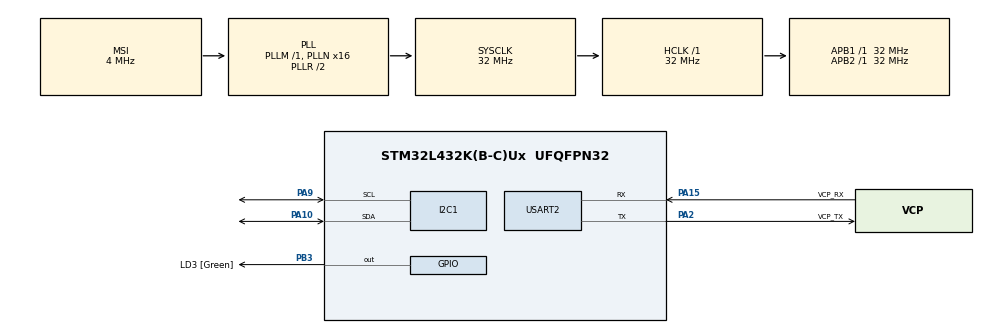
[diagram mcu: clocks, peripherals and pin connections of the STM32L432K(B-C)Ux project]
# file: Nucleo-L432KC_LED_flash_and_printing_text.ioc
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I2C1.Timing=0x00B07CB4
Mcu.Family=STM32L4
Mcu.Name=STM32L432K(B-C)Ux
Mcu.Package=UFQFPN32
NVIC.PriorityGroup=NVIC_PRIORITYGROUP_4
PA0.GPIO_Label=MCO [High speed clock in]
PA0.Mode=HSE-External-Clock-Source-for-LittleOrca
PA0.Signal=RCC_CK_IN
PA10.Mode=I2C
PA10.Signal=I2C1_SDA
PA13\ (JTMS-SWDIO).GPIO_Label=SWDIO
PA13\ (JTMS-SWDIO).Mode=Serial_Wire
PA13\ (JTMS-SWDIO).Signal=SYS_JTMS-SWDIO
PA14\ (JTCK-SWCLK).GPIO_Label=SWCLK
PA14\ (JTCK-SWCLK).Mode=Serial_Wire
PA14\ (JTCK-SWCLK).Signal=SYS_JTCK-SWCLK
PA15\ (JTDI).GPIO_Label=VCP_RX
PA15\ (JTDI).Mode=Asynchronous
PA15\ (JTDI).Signal=USART2_RX
PA2.GPIO_Label=VCP_TX
PA2.Mode=Asynchronous
PA2.Signal=USART2_TX
PA9.Mode=I2C
PA9.Signal=I2C1_SCL
PB3\ (JTDO-TRACESWO).GPIO_Label=LD3 [Green]
PB3\ (JTDO-TRACESWO).Signal=GPIO_Output
PC14-OSC32_IN\ (PC14).Mode=LSE-External-Oscillator
PC14-OSC32_IN\ (PC14).Signal=RCC_OSC32_IN
PC15-OSC32_OUT\ (PC15).Mode=LSE-External-Oscillator
PC15-OSC32_OUT\ (PC15).Signal=RCC_OSC32_OUT
ProjectManager.HeapSize=0x200
ProjectManager.StackSize=0x400
ProjectManager.TargetToolchain=STM32CubeIDE
RCC.AHBFreq_Value=32000000
RCC.APB1Freq_Value=32000000
RCC.APB1TimFreq_Value=32000000
RCC.APB2Freq_Value=32000000
RCC.APB2TimFreq_Value=32000000
RCC.CortexFreq_Value=32000000
RCC.HCLKFreq_Value=32000000
RCC.HSE_VALUE=8000000
RCC.HSI16_VALUE=16000000
RCC.HSI48_VALUE=48000000
RCC.HSI_VALUE=16000000
RCC.MSI_VALUE=4000000
RCC.PLLMUL=RCC_PLLMUL_4
RCC.PLLN=16
RCC.SYSCLKFreq_VALUE=32000000
RCC.SYSCLKSource=RCC_SYSCLKSOURCE_PLLCLK
RCC.VCOOutputFreq_Value=64000000
USART2.VirtualMode-Asynchronous=VM_ASYNC
board=NUCLEO-L432KC

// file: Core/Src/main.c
/* USER CODE BEGIN Header */
/**
 ******************************************************************************
 * @file           : main.c
 * @brief          : Main program body
 ******************************************************************************
 * @attention
 *
 * Copyright (c) 2025 STMicroelectronics.
 * All rights reserved.
 *
 * This software is licensed under terms that can be found in the LICENSE file
 * in the root directory of this software component.
 * If no LICENSE file comes with this software, it is provided AS-IS.
 *
 ******************************************************************************
 */

/**
 * This project includes .h and .c library files for driving the onboard green LED, sending text to the ST-Link VCP via USART
 * and sending text to a 1602 LCD using a library, liquidcrystal_i2c, created by eziya based on the Arduino Liquid Crystal I2C Library.
 * Several parts of this project have been moved to separate h & c files to create modularisation, including:
 * lcd_counter		displays the value of a variable called counter
 * lcd_display		executes a demonstration highlighting the functions available in liquidcrystal_i2c
 * led_control		manipulates the state of the on-board green LED
 * uart_control		includes several functions to transmit data via a USART to the VCP on the embedded ST-Link
 */

/* USER CODE END Header */
#include "main.h"

/* USER CODE BEGIN Includes */
#include <stdio.h>
#include <string.h>
#include "led_control.h"
#include "uart_control.h"
#include "liquidcrystal_i2c.h"
#include "lcd_display.h"
#include "lcd_counter.h"
/* USER CODE END Includes */

I2C_HandleTypeDef hi2c1;

UART_HandleTypeDef huart2;

/* USER CODE BEGIN PV */
uint32_t counter = 0;
uint32_t x = 0;
/* USER CODE END PV */

void SystemClock_Config(void);
static void MX_GPIO_Init(void);
static void MX_USART2_UART_Init(void);
static void MX_I2C1_Init(void);

int main(void)
{

  /* MCU Configuration--------------------------------------------------------*/

  /* Reset of all peripherals, Initializes the Flash interface and the Systick. */
  HAL_Init();

  /* Configure the system clock */
  SystemClock_Config();

  /* Initialize all configured peripherals */
  MX_GPIO_Init();
  MX_USART2_UART_Init();
  MX_I2C1_Init();
  /* USER CODE BEGIN 2 */
	// Call UART_PrintWelcomeMessage to send initial text to LCD
	HAL_Delay(1000);
	UART_PrintWelcomeMessage(); //Code is in uart_control.c
	HAL_Delay(500);

	// Initialize LCD and run display demo
	LCD_DisplayDemo(); // Call the function from lcd_display.c to avoid filling main.c with all the code
  /* USER CODE END 2 */

  /* Infinite loop */
  /* USER CODE BEGIN WHILE */
	while (1) {
		LED_Toggle(200); //Toggle LD3 LED Pin, with 1 second delay. Code is in led.control.c
		HAL_Delay(100);
		UART_PrintLEDStatus(counter++, LED_GetState()); //Print LED status information & counter value. Code is in uart_control.c
		HAL_Delay(100);
		UART_PrintSystemInfo(); //Print system information. Code is in uart_control.c
		HAL_Delay(100);

		// Display counter value on LCD
		LCD_DisplayCounter(counter, 11, 1); // Call LCD_DisplayCounter function in lcd_counter.c and pass parameters
    /* USER CODE END WHILE */

	}
}

void SystemClock_Config(void)
{
  RCC_OscInitTypeDef RCC_OscInitStruct = {0};
  RCC_ClkInitTypeDef RCC_ClkInitStruct = {0};

  /** Configure the main internal regulator output voltage
  */
  if (HAL_PWREx_ControlVoltageScaling(PWR_REGULATOR_VOLTAGE_SCALE1) != HAL_OK)
  {
    Error_Handler();
  }

  /** Configure LSE Drive Capability
  */
  HAL_PWR_EnableBkUpAccess();
  __HAL_RCC_LSEDRIVE_CONFIG(RCC_LSEDRIVE_LOW);

  /** Initializes the RCC Oscillators according to the specified parameters
  * in the RCC_OscInitTypeDef structure.
  */
  RCC_OscInitStruct.OscillatorType = RCC_OSCILLATORTYPE_LSE|RCC_OSCILLATORTYPE_MSI;
  RCC_OscInitStruct.LSEState = RCC_LSE_ON;
  RCC_OscInitStruct.MSIState = RCC_MSI_ON;
  RCC_OscInitStruct.MSICalibrationValue = 0;
  RCC_OscInitStruct.MSIClockRange = RCC_MSIRANGE_6;
  RCC_OscInitStruct.PLL.PLLState = RCC_PLL_ON;
  RCC_OscInitStruct.PLL.PLLSource = RCC_PLLSOURCE_MSI;
  RCC_OscInitStruct.PLL.PLLM = 1;
  RCC_OscInitStruct.PLL.PLLN = 16;
  RCC_OscInitStruct.PLL.PLLP = RCC_PLLP_DIV7;
  RCC_OscInitStruct.PLL.PLLQ = RCC_PLLQ_DIV2;
  RCC_OscInitStruct.PLL.PLLR = RCC_PLLR_DIV2;
  if (HAL_RCC_OscConfig(&RCC_OscInitStruct) != HAL_OK)
  {
    Error_Handler();
  }

  /** Initializes the CPU, AHB and APB buses clocks
  */
  RCC_ClkInitStruct.ClockType = RCC_CLOCKTYPE_HCLK|RCC_CLOCKTYPE_SYSCLK
                              |RCC_CLOCKTYPE_PCLK1|RCC_CLOCKTYPE_PCLK2;
  RCC_ClkInitStruct.SYSCLKSource = RCC_SYSCLKSOURCE_PLLCLK;
  RCC_ClkInitStruct.AHBCLKDivider = RCC_SYSCLK_DIV1;
  RCC_ClkInitStruct.APB1CLKDivider = RCC_HCLK_DIV1;
  RCC_ClkInitStruct.APB2CLKDivider = RCC_HCLK_DIV1;

  if (HAL_RCC_ClockConfig(&RCC_ClkInitStruct, FLASH_LATENCY_1) != HAL_OK)
  {
    Error_Handler();
  }

  /** Enable MSI Auto calibration
  */
  HAL_RCCEx_EnableMSIPLLMode();
}

static void MX_I2C1_Init(void)
{

  hi2c1.Instance = I2C1;
  hi2c1.Init.Timing = 0x00B07CB4;
  hi2c1.Init.OwnAddress1 = 0;
  hi2c1.Init.AddressingMode = I2C_ADDRESSINGMODE_7BIT;
  hi2c1.Init.DualAddressMode = I2C_DUALADDRESS_DISABLE;
  hi2c1.Init.OwnAddress2 = 0;
  hi2c1.Init.OwnAddress2Masks = I2C_OA2_NOMASK;
  hi2c1.Init.GeneralCallMode = I2C_GENERALCALL_DISABLE;
  hi2c1.Init.NoStretchMode = I2C_NOSTRETCH_DISABLE;
  if (HAL_I2C_Init(&hi2c1) != HAL_OK)
  {
    Error_Handler();
  }

  /** Configure Analogue filter
  */
  if (HAL_I2CEx_ConfigAnalogFilter(&hi2c1, I2C_ANALOGFILTER_ENABLE) != HAL_OK)
  {
    Error_Handler();
  }

  /** Configure Digital filter
  */
  if (HAL_I2CEx_ConfigDigitalFilter(&hi2c1, 0) != HAL_OK)
  {
    Error_Handler();
  }

}

static void MX_USART2_UART_Init(void)
{

  huart2.Instance = USART2;
  huart2.Init.BaudRate = 115200;
  huart2.Init.WordLength = UART_WORDLENGTH_8B;
  huart2.Init.StopBits = UART_STOPBITS_1;
  huart2.Init.Parity = UART_PARITY_NONE;
  huart2.Init.Mode = UART_MODE_TX_RX;
  huart2.Init.HwFlowCtl = UART_HWCONTROL_NONE;
  huart2.Init.OverSampling = UART_OVERSAMPLING_16;
  huart2.Init.OneBitSampling = UART_ONE_BIT_SAMPLE_DISABLE;
  huart2.AdvancedInit.AdvFeatureInit = UART_ADVFEATURE_NO_INIT;
  if (HAL_UART_Init(&huart2) != HAL_OK)
  {
    Error_Handler();
  }

}

static void MX_GPIO_Init(void)
{
  GPIO_InitTypeDef GPIO_InitStruct = {0};

  /* GPIO Ports Clock Enable */
  __HAL_RCC_GPIOC_CLK_ENABLE();
  __HAL_RCC_GPIOA_CLK_ENABLE();
  __HAL_RCC_GPIOB_CLK_ENABLE();

  /*Configure GPIO pin Output Level */
  HAL_GPIO_WritePin(LD3_GPIO_Port, LD3_Pin, GPIO_PIN_RESET);

  /*Configure GPIO pin : LD3_Pin */
  GPIO_InitStruct.Pin = LD3_Pin;
  GPIO_InitStruct.Mode = GPIO_MODE_OUTPUT_PP;
  GPIO_InitStruct.Pull = GPIO_NOPULL;
  GPIO_InitStruct.Speed = GPIO_SPEED_FREQ_LOW;
  HAL_GPIO_Init(LD3_GPIO_Port, &GPIO_InitStruct);

}

void Error_Handler(void)
{
	__disable_irq();
	while (1) {
	}
}
